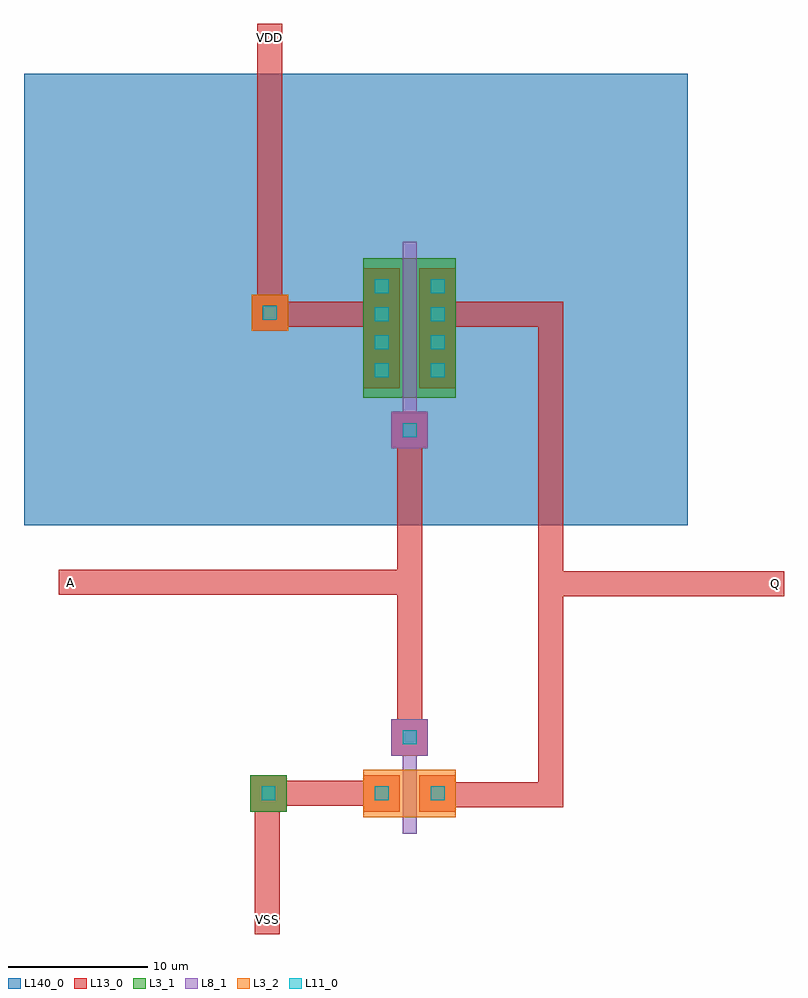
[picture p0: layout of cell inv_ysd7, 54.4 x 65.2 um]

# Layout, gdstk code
import gdstk
lib = gdstk.Library(unit=1e-6, precision=1e-07)
def R(c, l, rs):  # rectangles x0, y0, x1, y1
    for r in rs: c.add(gdstk.rectangle(r[:2], r[2:], *l))
def A(c, l, x, y, w, h, nx, ny, dx, dy):  # array of equal rectangles
    R(c, l, [(x+i*dx, y+j*dy, x+i*dx+w, y+j*dy+h) for i in range(nx) for j in range(ny)])
L3_1 = (3, 1)
L3_2 = (3, 2)
L8_1 = (8, 1)
L11_0 = (11, 0)
L13_0 = (13, 0)
L140_0 = (140, 0)

fet_p = lib.new_cell('fet_p')
R(fet_p, L3_1, [(-3.3,-5,3.3,5)])
A(fet_p, L11_0, -2.5, -3.5, 1, 1, 1, 4, 0, 2)
A(fet_p, L11_0, 1.5, -3.5, 1, 1, 1, 4, 0, 2)
R(fet_p, L13_0, [(-3.3,-4.3,-0.7,4.3), (0.7,-4.3,3.3,4.3)])
fet_p.add(gdstk.FlexPath([(0,-6.2),(0,6.2)], 1, ends="flush", simple_path=True, layer=8, datatype=1))  # L8_1

cont_n = lib.new_cell('cont_n')
R(cont_n, L3_2, [(-1.3,-1.3,1.3,1.3)])
R(cont_n, L11_0, [(-0.5,-0.5,0.5,0.5)])
R(cont_n, L13_0, [(-1.3,-1.3,1.3,1.3)])

cont_g = lib.new_cell('cont_g')
R(cont_g, L8_1, [(-1.3,-1.3,1.3,1.3)])
R(cont_g, L11_0, [(-0.5,-0.5,0.5,0.5)])
R(cont_g, L13_0, [(-1.3,-1.3,1.3,1.3)])

fet_n = lib.new_cell('fet_n')
R(fet_n, L3_2, [(-3.3,-1.7,3.3,1.7)])
R(fet_n, L11_0, [(-2.5,-0.5,-1.5,0.5), (1.5,-0.5,2.5,0.5)])
R(fet_n, L13_0, [(-3.3,-1.3,-0.7,1.3), (0.7,-1.3,3.3,1.3)])
fet_n.add(gdstk.FlexPath([(0,-2.9),(0,2.9)], 1, ends="flush", simple_path=True, layer=8, datatype=1))  # L8_1

cont_p = lib.new_cell('cont_p')
R(cont_p, L3_1, [(-1.3,-1.3,1.3,1.3)])
R(cont_p, L11_0, [(-0.5,-0.5,0.5,0.5)])
R(cont_p, L13_0, [(-1.3,-1.3,1.3,1.3)])

inv_ysd7 = lib.new_cell('inv_ysd7')
R(inv_ysd7, L140_0, [(-22.6,-7.8,24.9,24.5)])
inv_ysd7.add(gdstk.FlexPath([(6.5,7.3),(15.1,7.3),(15.1,-27.1),(6.5,-27.1),(6.5,-27.1),(6.4,-27.1)], 1.8, ends="flush", simple_path=True, layer=13, datatype=0))  # L13_0
inv_ysd7.add(gdstk.FlexPath([(5,-23.5),(5,-0.5),(5,-0.5)], 1.8, ends="flush", simple_path=True, layer=13, datatype=0))  # L13_0
inv_ysd7.add(gdstk.FlexPath([(3.5,7.3),(-5,7.3),(-5,28.1)], 1.8, ends="flush", simple_path=True, layer=13, datatype=0))  # L13_0
inv_ysd7.add(gdstk.FlexPath([(3.5,-27),(-5.2,-27),(-5.2,-37.1),(-5.2,-37.1)], 1.8, ends="flush", simple_path=True, layer=13, datatype=0))  # L13_0
inv_ysd7.add(gdstk.FlexPath([(14.9,-12),(31.8,-12)], 1.8, ends="flush", simple_path=True, layer=13, datatype=0))  # L13_0
inv_ysd7.add(gdstk.FlexPath([(5.2,-11.9),(-20.1,-11.9)], 1.8, ends="flush", simple_path=True, layer=13, datatype=0))  # L13_0
inv_ysd7.add(gdstk.Reference(fet_p, (5,6.3)))
inv_ysd7.add(gdstk.Reference(cont_n, (-5,7.4)))
inv_ysd7.add(gdstk.Reference(cont_g, (5,-1)))
inv_ysd7.add(gdstk.Reference(fet_n, (5,-27)))
inv_ysd7.add(gdstk.Reference(cont_g, (5,-23)))
inv_ysd7.add(gdstk.Reference(cont_p, (-5.1,-27)))
inv_ysd7.add(gdstk.Label('Q', (31.2,-12), layer=13, texttype=0))
inv_ysd7.add(gdstk.Label('A', (-19.3,-11.9), layer=13, texttype=0))
inv_ysd7.add(gdstk.Label('VDD', (-5,27.1), layer=13, texttype=0))
inv_ysd7.add(gdstk.Label('VSS', (-5.2,-36), layer=13, texttype=0))

lib.write_gds('inv_ysd7.gds')
